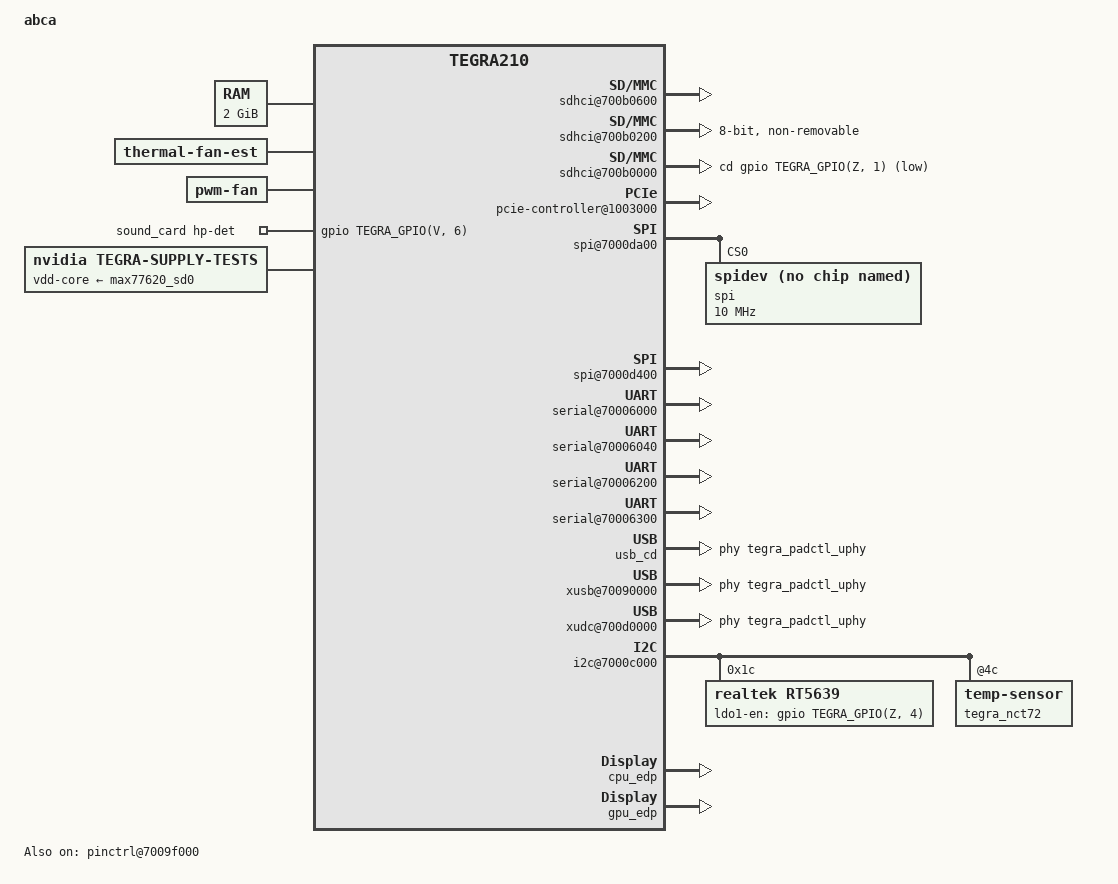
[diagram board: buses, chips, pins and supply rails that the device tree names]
/*
 * arch/arm64/boot/dts/tegra210-abca-common.dtsi
 *
 * Copyright (c) 2014-2017, NVIDIA CORPORATION.  All rights reserved.
 *
 * This program is free software; you can redistribute it and/or modify
 * it under the terms of the GNU General Public License as published by
 * the Free Software Foundation; version 2 of the License.
 *
 * This program is distributed in the hope that it will be useful, but WITHOUT
 * ANY WARRANTY; without even the implied warranty of MERCHANTABILITY or
 * FITNESS FOR A PARTICULAR PURPOSE.  See the GNU General Public License for
 * more details.
 *
 */

/dts-v1/;

/memreserve/ 0x80000000 0x00020000;

#include <tegra210b01-soc/tegra210b01-soc-common-platform.dtsi>
#include <tegra210-soc/tegra210-audio.dtsi>
#include "tegra210b01-abca-comms.dtsi"
#include <tegra210-soc/tegra210-trusty.dtsi>
#include <tegra210b01-cpufreq.dtsi>
#include "tegra210b01-abca-gpio-default-01-00.dtsi"
#include "tegra210b01-abca-pinmux-01-00.dtsi"
#include "tegra210b01-abca-padvoltage-default-01-00.dtsi"
#include "tegra210b01-thermal-fan-est-p2530-0930.dtsi"
#include "tegra210b01-abca-keys.dtsi"
#include <tegra210-soc/tegra210-edp.dtsi>
#include <t210-common-platforms/tegra210-thermal-nct72-p2530.dtsi>
#include <tegra210-soc/tegra210-thermal-Tboard-Tdiode.dtsi>
#include "tegra210b01-pwm-fan-p2530-0930.dtsi"
#include <dt-bindings/soc/tegra-pmc.h>
#include <dt-bindings/thermal/tegra210b01-trips.h>

/ {
	nvidia,dtbbuildtime = __DATE__, __TIME__;
	model = "abca";
	compatible = "nvidia,abca", "nvidia,tegra210b01";
	nvidia,dtsfilename = __FILE__;

	nvidia,boardids = "2595:0000:A0";
	nvidia,proc-boardid = "2595:0000:A0";
	nvidia,pmu-boardid = "2595:0000:A0";
	#address-cells = <2>;
	#size-cells = <2>;

	chosen {
		bootargs = "earlycon=uart8250,mmio32,0x70006000";
		stdout-path = &uarta;
	};

	firmware {
		android {
			compatible = "android,firmware";
			hardware = "abca";
		};
	};

	se_elp@70420000 {
		status = "okay";
	};

	rtc {
		nvidia,pmc-wakeup = <&tegra_pmc PMC_WAKE_TYPE_EVENT 16
			PMC_TRIGGER_TYPE_HIGH>;
	};

	pmc@7000e400 {
		nvidia,invert-interrupt;

		nvidia,suspend-mode = <0>;
		nvidia,cpu-pwr-good-time = <0>;
		nvidia,cpu-pwr-off-time = <0>;
		nvidia,core-pwr-good-time = <4587 3876>;
		nvidia,core-pwr-off-time = <39065>;
		nvidia,core-power-req-active-high;
		nvidia,sys-clock-req-active-high;
		#nvidia,wake-cells = <3>;
		nvidia,restrict-voltage-switch;

		pinctrl_iopad_default:iopad-defaults {
			sdmmc-io-pads {
				pins = "sdmmc1";
				nvidia,enable-voltage-switching;
			};
		};

		bootrom-commands {
			nvidia,command-retries-count = <2>;
			nvidia,delay-between-commands-us = <10>;
			nvidia,wait-before-start-bus-clear-us = <10>;
			#address-cells = <1>;
			#size-cells = <0>;
		};
	};

	memory@80000000 {
		device_type = "memory";
		reg = < 0x0 0x80000000 0x0 0x80000000 >;
	};

	sdhci@700b0600 { /* SDMMC4 for EMMC */
		uhs-mask = <0x0>;	/* hs400 */
		power-off-rail;
		status = "okay";
	};

	sdhci@700b0400 { /* SDMMC3 Not Used */
		status = "disabled";
	};

	sdhci@700b0200 { /* SDMMC2 for 2nd EMMC */
		uhs-mask = <0x0>;	/* hs400 */
		tap-delay = <0>;
		trim-delay = <8>;
		nvidia,is-ddr-tap-delay;
		nvidia,ddr-tap-delay = <0>;
		mmc-ocr-mask = <0>;
		dqs-trim-delay = <17>;
		dqs-trim-delay-hs533 = <24>;
		bus-width = <8>;
		built-in;
		calib-3v3-offsets = <0x0505>;
		calib-1v8-offsets = <0x0505>;
		compad-vref-3v3 = <0x7>;
		compad-vref-1v8 = <0x7>;
		nvidia,en-io-trim-volt;
		nvidia,is-emmc;
		nvidia,enable-cq;
		ignore-pm-notify;
		keep-power-in-suspend;
		non-removable;
		cap-mmc-highspeed;
		cap-sd-highspeed;
		mmc-ddr-1_8v;
		mmc-hs200-1_8v;
		mmc-hs400-1_8v;
		nvidia,enable-strobe-mode;
		pll_source = "pll_p", "pll_c4_out2";
		clocks = <&tegra_car TEGRA210_CLK_SDMMC2>,
		       <&tegra_car TEGRA210_CLK_PLL_P>,
		       <&tegra_car TEGRA210_CLK_PLL_C4_OUT2>;
		clock-names = "sdmmc", "pll_p", "pll_c4_out2";
		status = "okay";
	};

	sdhci@700b0000 { /* SDMMC1 for uSD card */
		nvidia,sd-device;
		uhs-mask = <0x8>;
		/delete-property/ cd-inverted;
		cd-gpios = <&gpio TEGRA_GPIO(Z, 1) GPIO_ACTIVE_LOW>;
		default-drv-type = <1>;
		power-off-rail;
		nvidia,update-pinctrl-settings;
		status = "okay";
	};

#if defined(LINUX_VERSION) && LINUX_VERSION >= 409
	aconnect@702c0000 {
#endif
	adma@702e2000  {
		dma-channels = <10>;
		status = "okay";
	};

	ahub {
		i2s@702d1000 {
			pinctrl-names = "dap_active", "dap_inactive";
			pinctrl-0 = <>;
			pinctrl-1 = <>;
			regulator-supplies = "vdd-1v8-audio-hv", "vdd-1v8-audio-hv-bias";
			vdd-1v8-audio-hv-supply = <&max77620_sd3>;
			vdd-1v8-audio-hv-bias-supply = <&max77620_sd3>;
		};

		i2s@702d1300 {
			pinctrl-names = "dap_active", "dap_inactive";
			pinctrl-0 = <>;
			pinctrl-1 = <>;
			regulator-supplies = "vddio-dmic";
			vddio-dmic-supply = <&max77620_sd3>;
		};

		i2s@702d1100 {
			pinctrl-names = "dap_active", "dap_inactive";
			pinctrl-0 = <>;
			pinctrl-1 = <>;
			regulator-supplies = "vdd-1v8-spi-hv", "vdd-1v8-spi-hv-bias";
			vdd-1v8-spi-hv-supply = <&max77620_sd3>;
			vdd-1v8-spi-hv-bias-supply = <&max77620_sd3>;
			fsync-width = <0>;
		};
	};
#if defined(LINUX_VERSION) && LINUX_VERSION >= 409
	};
#endif

	watchdog@60005100 {
		status = "okay";
		nvidia,enable-on-init;
		timeout-sec = <120>;
	};

	pcie-controller@1003000 {
		compatible = "nvidia,tegra210b01-pcie";
		nvidia,wake-gpio = <&gpio TEGRA_GPIO(A, 2) 0>;
		status = "okay";
		dvdd-pex-pll-supply = <&max77620_ldo1>;
		l0-dvddio-pex-supply = <&max77620_ldo1>;
		l1-dvddio-pex-supply = <&max77620_ldo1>;
		l2-dvddio-pex-supply = <&max77620_ldo1>;
		l3-dvddio-pex-supply = <&max77620_ldo1>;
		l4-dvddio-pex-supply = <&max77620_ldo1>;
		l5-dvddio-pex-supply = <&max77620_ldo1>;
		l6-dvddio-pex-supply = <&max77620_ldo1>;
		hvdd-pex-pll-e-supply = <&max77620_sd3>;
		l0-hvddio-pex-supply = <&max77620_sd3>;
		l1-hvddio-pex-supply = <&max77620_sd3>;
		l2-hvddio-pex-supply = <&max77620_sd3>;
		l3-hvddio-pex-supply = <&max77620_sd3>;
		l4-hvddio-pex-supply = <&max77620_sd3>;
		l5-hvddio-pex-supply = <&max77620_sd3>;
		l6-hvddio-pex-supply = <&max77620_sd3>;
		vddio-pex-ctl-supply = <&max77620_sd3>;

		pci@1,0 {
			nvidia,num-lanes = <4>;
			status = "okay";
		};

		pci@2,0 {
			nvidia,num-lanes = <1>;
			status = "okay";
		};
	};

	spi@7000da00 {
		status = "okay";
		spi@0 {
			compatible = "spidev";
			status = "okay";
			reg = <0>;
			spi-cpol;
			spi-cpha;
			spi-max-frequency = <10000000>;
		};
	};

	spi@7000d400 {
		status = "okay";
	};

	serial@70006000 {
		compatible = "nvidia,tegra210-uart", "nvidia,tegra114-hsuart";
		console-port;
		sqa-automation-port;
		enable-rx-poll-timer;
		/delete-property/ resets;
		/delete-property/ reset-names;
		status = "okay";
	};

	serial@70006040 {
		status = "okay";
	};

	serial@70006200 {
		status = "okay";
	};

	serial@70006300 {
		status = "okay";
	};

	mailbox@70098000 {
		status = "okay";
	};

	usb_cd {
		status = "okay";
		#extcon-cells = <1>;
		phys = <&tegra_padctl_uphy TEGRA_PADCTL_UPHY_UTMI_P(0)>;
		phy-names = "otg-phy";
	};

	pinctrl@7009f000 {
		compatible = "nvidia,tegra21xb01-padctl-uphy";
		status = "okay";
		pinctrl-0 = <&tegra_padctl_uphy_pinmux_default>;
		pinctrl-names = "default";
		tegra_padctl_uphy_pinmux_default: pinmux {
			usb2-micro-AB-xusb {
				nvidia,lanes = "otg-0";
				nvidia,function = "xusb";
				nvidia,port-cap =
					<TEGRA_PADCTL_PORT_OTG_CAP>;
			};
			usb3-for-dev-mode {
				nvidia,lanes = "uphy-lane-5";
				nvidia,function = "usb3";
				nvidia,usb3-port = <0>;
				nvidia,usb2-map = <0>;
				nvidia,port-cap =
					<TEGRA_PADCTL_PORT_OTG_CAP>;
			};
			usb2-micro-AB-snps {
				nvidia,lanes = "otg-0";
				nvidia,function = "snps";
				status = "disabled";
			};
			pcie-0 {
				 nvidia,lanes =	"uphy-lane-1", "uphy-lane-2",
						"uphy-lane-3", "uphy-lane-4";
				 nvidia,function = "pcie";
				 nvidia,pcie-controller = <0>;
				 nvidia,pcie-lane-select =
					<TEGRA_PADCTL_PCIE_LANE_X4>;
			};
			pcie-1 {
				 nvidia,lanes =	"uphy-lane-0";
				 nvidia,function = "pcie";
				 nvidia,pcie-controller = <1>;
				 nvidia,pcie-lane-select =
					<TEGRA_PADCTL_PCIE_LANE_X1>;
			};
		};
	};

	xusb@70090000 {
		compatible = "nvidia,tegra210b01-xhci";
		status = "okay";
		#extcon-cells = <1>;
		phys =	<&tegra_padctl_uphy TEGRA_PADCTL_UPHY_UTMI_P(0)>,
			<&tegra_padctl_uphy TEGRA_PADCTL_UPHY_USB3_P(0)>;
		phy-names = "utmi-0", "usb3-0";
		nvidia,pmc-wakeup =
			<&tegra_pmc
				PMC_WAKE_TYPE_EVENT 41 PMC_TRIGGER_TYPE_HIGH>,
			<&tegra_pmc
				PMC_WAKE_TYPE_EVENT 44 PMC_TRIGGER_TYPE_HIGH>;
	};

	xudc@700d0000 {
		compatible = "nvidia,tegra210b01-xudc";
		nvidia,portmap = <0x0108>;
		#extcon-cells = <1>;
		status = "okay";
		phys =  <&tegra_padctl_uphy TEGRA_PADCTL_UPHY_UTMI_P(0)>,
			<&tegra_padctl_uphy TEGRA_PADCTL_UPHY_USB3_P(0)>;
		phy-names = "usb2", "usb3";
	};

	xotg {
		#extcon-cells = <1>;
		status = "disabled";
	};

	thermal-fan-est {
		status = "okay";
		compatible = "thermal-fan-est";
		active_trip_temps = <0 63000 74000 85000 120000
				140000 150000 160000 170000 180000>;
		active_hysteresis = <0 15000 11000 6000 4000
				0 0 0 0 0>;
	};

	pwm_fan_shared_data: pfsd {
		state_cap_lookup = <2 2 2 7 7 7 7 7 9 9>;
		pwm_period = <40000>;
		pwm_id = <1>;
		tach_gpio =  <&gpio TEGRA_GPIO(S, 7) GPIO_ACTIVE_LOW>; /* TEGRA_GPIO_PS7 */
		pwm_gpio = <&gpio TEGRA_GPIO(V, 4) GPIO_ACTIVE_LOW>; /* TEGRA_GPIO_PV4 */
	};

	pwm-fan {
		status = "okay";
		compatible = "pwm-fan";
		shared_data = <&pwm_fan_shared_data>;
		active_pwm = <0 70 115 135 135 240 245 250 252 255>;
	};

	i2c@7000c000 {
		rt5639: rt5639.0-001c@1c {
			compatible = "realtek,rt5639";
			realtek,ldo1-en-gpios = <&gpio TEGRA_GPIO(Z, 4) GPIO_ACTIVE_HIGH>;
			reg = <0x1c>;
			sel_jd_source = <2>;
		};
	};

	sound_card: sound {
		compatible = "nvidia,tegra-audio-t210ref-mobile-rt5639";
		nvidia,model = "tegra-snd-t210ref-mobile-rt5639";
		nvidia,hp-det-gpios = <&gpio TEGRA_GPIO(V, 6) GPIO_ACTIVE_HIGH>;

		clocks = <&tegra_car TEGRA210_CLK_PLL_P_OUT1>,
			<&tegra_car TEGRA210_CLK_PLL_A>,
			<&tegra_car TEGRA210_CLK_PLL_A_OUT0>,
			<&tegra_car TEGRA210_CLK_D_AUDIO>,
			<&tegra_car TEGRA210_CLK_CLK_M>,
			<&tegra_car TEGRA210_CLK_EXTERN1>;
		clock-names = "pll_p_out1", "pll_a", "pll_a_out0", "ahub",
			"clk_m", "extern1";


		assigned-clocks = <&tegra_car TEGRA210_CLK_PLL_A>,
			<&tegra_car TEGRA210_CLK_PLL_A_OUT0>,
			<&tegra_car TEGRA210_CLK_D_AUDIO>,
			<&tegra_car TEGRA210_CLK_EXTERN1>;
		assigned-clock-rates = <368640000>, <36864000>,
			<36864000>, <12288000>;

		nvidia,num-codec-link = <4>;

		nvidia,audio-routing =
			"x Headphone Jack", 	"x HPOL",
			"x Headphone Jack", 	"x HPOR",
			"x Int Spk", 	"x SPORP",
			"x Int Spk", 	"x SPORN",
			"x Int Spk", 	"x SPOLP",
			"x Int Spk", 	"x SPOLN",
			"x micbias1",	"x Mic Jack",
			"x IN1P",		"x Mic Jack",
			"x IN1P",		"x Mic Jack",
			"x DMIC L1",	"x Int Mic",
			"x DMIC L2",	"x Int Mic",
			"x DMIC R1",	"x Int Mic",
			"x DMIC R2",	"x Int Mic",
			"y Headphone", 	"y OUT",
			"y IN",		"y Mic",
			"z Headphone", 	"z OUT",
			"z IN",		"z Mic",
			"l IN",		"l OUT";

		nvidia,xbar = <&tegra_axbar>;

		nvidia,dai-link-1 {
			link-name = "rt5640-playback";
			cpu-dai = <&tegra_i2s1>;
			codec-dai = <&rt5639>;
			cpu-dai-name = "I2S1";
			codec-dai-name = "rt5640-aif1";
			format = "i2s";
			bitclock-slave;
			frame-slave;
			bitclock-noninversion;
			frame-noninversion;
			bit-format = "s16_le";
			bclk_ratio = <0>;
			srate = <48000>;
			num-channel = <2>;
			name-prefix = "x";
		};
		nvidia,dai-link-2 {
			link-name = "spdif-dit-1";
			cpu-dai = <&tegra_i2s2>;
			codec-dai = <&spdif_dit1>;
			cpu-dai-name = "I2S2";
			codec-dai-name = "dit-hifi";
			format = "dsp_a";
			bitclock-slave;
			frame-slave;
			bitclock-inversion;
			frame-inversion;
			bit-format = "s16_le";
			bclk_ratio = <4>;
			srate = <8000>;
			num-channel = <1>;
			name-prefix = "y";
		};
		nvidia,dai-link-3 {
			link-name = "spdif-dit-2";
			cpu-dai = <&tegra_dmic2>;
			codec-dai = <&spdif_dit2>;
			cpu-dai-name = "DMIC2";
			codec-dai-name = "dit-hifi";
			format = "i2s";
			bit-format = "s16_le";
			srate = <48000>;
			num-channel = <2>;
			name-prefix = "z";
		};
		nvidia,dai-link-4 {
			link-name = "spdif-dit-3";
			cpu-dai = <&tegra_i2s3>;
			codec-dai = <&spdif_dit3>;
			cpu-dai-name = "I2S3";
			codec-dai-name = "dit-hifi";
			format = "i2s";
			bitclock-slave;
			frame-slave;
			bitclock-noninversion;
			frame-noninversion;
			bit-format = "s16_le";
			bclk_ratio = <0>;
			srate = <48000>;
			num-channel = <2>;
			name-prefix = "l";
		};
	};

#if defined(LINUX_VERSION) && LINUX_VERSION >= 409
	aconnect@702c0000 {
#endif
	adsp_audio {
		compr-ops = <1>;
		num-plugin = <5>;
		plugin-info-1 {
			plugin-name = "mp3-dec1";
			firmware-name = "nvmp3dec.elf";
			widget-name = "MP3-DEC1";
		};
		plugin-info-2 {
			plugin-name = "spkprot";
			firmware-name = "nvspkprot.elf";
			widget-name = "SPKPROT-SW";
		};
		plugin-info-3 {
			plugin-name = "src";
			firmware-name = "nvsrc.elf";
			widget-name = "SRC";
		};
		plugin-info-4 {
			plugin-name = "aac-dec1";
			firmware-name = "nvaacdec.elf";
			widget-name = "AAC-DEC1";
		};
		plugin-info-5 {
			plugin-name = "aec";
			firmware-name = "libnvaecfx.elf";
			widget-name = "AEC";
			param-type = <2>; /* SNDRV_CTL_ELEM_TYPE_INTEGER */
		};
	};
#if defined(LINUX_VERSION) && LINUX_VERSION >= 409
	};
#endif
	bcmdhd_wlan {
		edp-consumer-name = "primary-wifi";
	};

	cpu_edp {
		status = "okay";
		nvidia,edp_limit = <25000>;
	};

	gpu_edp {
		status = "okay";
		nvidia,edp_limit = <25000>;
	};

	modem {
		/* using XHCI UTMI */
		nvidia,phy-type = <2>;
	};

	wifi-antenna-tuning {
		status = "disabled";
	};

	pinmux@700008d4 {
		dsi_ab_pad_default: dsi_ab_pad_default {
			dsi_ab_pad_enable {
				nvidia,pins = "pad_dsi_ab";
				nvidia,pad-power = <TEGRA_PIN_ENABLE>;
			};
		};
		dsi_cd_pad_default: dsi_cd_pad_default {
			dsi_cd_pad_enable {
				nvidia,pins = "pad_dsi_cd";
				nvidia,pad-power = <TEGRA_PIN_ENABLE>;
			};
		};
		dsi_ab_pad_idle: dsi_ab_pad_idle {
			dsi_ab_pad_disable {
				nvidia,pins = "pad_dsi_ab";
				nvidia,pad-power = <TEGRA_PIN_DISABLE>;
			};
		};
		dsi_cd_pad_idle: dsi_cd_pad_idle {
			dsi_cd_pad_disable {
				nvidia,pins = "pad_dsi_cd";
				nvidia,pad-power = <TEGRA_PIN_DISABLE>;
			};
		};
	};

	host1x {
		dc@54200000 {
			pinctrl-names = "pad_ab_default", "pad_ab_idle",
				"pad_cd_default", "pad_cd_idle";
			pinctrl-0 = <&dsi_ab_pad_default>;
			pinctrl-1 = <&dsi_ab_pad_idle>;
			pinctrl-2 = <&dsi_cd_pad_default>;
			pinctrl-3 = <&dsi_cd_pad_idle>;
		};
	};

	clock@70110000 {
		status = "okay";
		vdd-cpu-supply = <&m4_max_reg>;
		nvidia,align-step-uv = <5000>;
		nvidia,sample-rate = <12500>;
		nvidia,droop-ctrl = <0x00000f00>;
		nvidia,force-mode = <1>;
		nvidia,cf = <6>;
		nvidia,ci = <0>;
		nvidia,cg = <2>;
		nvidia,i2c-fs-rate = <400000>;
		nvidia,dfll-max-freq-khz = <1683000>;
	};

	cpus {
		cpu@0 {
			clocks = <&tegra_car TEGRA210_CLK_CCLK_G>,
				 <&tegra_car TEGRA210_CLK_CCLK_LP>,
				 <&tegra_car TEGRA210_CLK_PLL_X>,
				 <&tegra_car TEGRA210_CLK_PLL_P_OUT4>,
				 <&tegra_clk_dfll>;
			clock-names = "cpu_g", "cpu_lp", "pll_x", "pll_p", "dfll";
			clock-latency = <300000>;
		};
	};

	memory-controller@70019000 {
		status = "okay";
	};

	dvfs {
		compatible = "nvidia,tegra210b01-dvfs", "nvidia,tegra210-dvfs";
		nvidia,gpu-max-freq-khz = <844800>;
	};

	tegra-supply-tests {
		compatible = "nvidia,tegra-supply-tests";
		vdd-core-supply=<&max77620_sd0>;
	};

	gpu-dvfs-rework {
		status = "okay";
	};

	host1x {
		assigned-clocks = <&tegra_car TEGRA210_CLK_EXTERN3>,
				<&tegra_car TEGRA210_CLK_CILE>,
				<&tegra_car TEGRA210_CLK_CILCD>,
				<&tegra_car TEGRA210_CLK_CILAB>,
				<&tegra_car TEGRA210_CLK_VI_I2C>,
				<&tegra_car TEGRA210_CLK_CLK_OUT_3_MUX>,
				<&tegra_car TEGRA210_CLK_VI>;
		assigned-clock-parents = <&tegra_car TEGRA210_CLK_PLL_P>,
					<&tegra_car TEGRA210_CLK_PLL_P>,
					<&tegra_car TEGRA210_CLK_PLL_P>,
					<&tegra_car TEGRA210_CLK_PLL_P>,
					<&tegra_car TEGRA210_CLK_PLL_P>,
					<&tegra_car TEGRA210_CLK_EXTERN3>,
					<&tegra_car TEGRA210_CLK_PLL_C>;
		assigned-clock-rates = <24000000>,
					<102000000>,
					<102000000>,
					<102000000>,
					<102000000>,
					<24000000>,
					<408000000>;
	};

	core_dvfs_cdev_cap {
		clocks = <&tegra_car TEGRA210_CLK_CAP_VCORE_C2BUS>,
			 <&tegra_car TEGRA210_CLK_CAP_VCORE_C3BUS>,
			 <&tegra_car TEGRA210_CLK_CAP_VCORE_CBUS>,
			 <&tegra_car TEGRA210_CLK_CAP_VCORE_APE>;
		clock-names = "c2bus_cap", "c3bus_cap", "cbus_cap", "ape_cap";
	};

	dfll_cap: dfll-cdev-cap {
		compatible = "nvidia,tegra-dfll-cdev-action";
		act-dev = <&tegra_clk_dfll>;
		cdev-type = "DFLL-cap";
		#cooling-cells = <2>; /* min followed by max */
	};

	dfll_floor: dfll-cdev-floor {
		compatible = "nvidia,tegra-dfll-cdev-action";
		act-dev = <&tegra_clk_dfll>;
		cdev-type = "DFLL-floor";
		#cooling-cells = <2>; /* min followed by max */
	};

	gpu_scaling_cdev: gpu-scaling-cdev {
		cooling-min-state = <0>;
		cooling-max-state = <5>;
		#cooling-cells = <2>;
		compatible = "nvidia,tegra210-rail-scaling-cdev";
		cdev-type = "gpu_scaling";
		nvidia,constraint;
		nvidia,trips = <&gpu_scaling_trip0 800 &gpu_scaling_trip1 0
				&gpu_scaling_trip2 0 &gpu_scaling_trip3 0
				&gpu_scaling_trip4 0 &gpu_scaling_trip5 0>;
	};

	gpu_vmax_cdev: gpu-vmax-cdev {
		cooling-min-state = <0>;
		cooling-max-state = <1>;
		#cooling-cells = <2>;
		compatible = "nvidia,tegra210-rail-vmax-cdev";
		cdev-type = "GPU-cap";
		nvidia,constraint-ucm2;
		nvidia,trips = <&gpu_vmax_trip1 1010 1010>;
		clocks = <&tegra_car TEGRA210_CLK_CAP_VGPU_GBUS>;
		clock-names = "cap-clk";
	};

	thermal-zones {
		Tboard_tegra {
			status = "okay";
		};
		Tdiode_tegra {
			status = "okay";
			polling-delay-passive = <500>;
			trips {
				gpu_shutdown {
					temperature = <92500>;
					hysteresis = <0>;
					type = "critical";
					writable;
				};

				gpu_throttle {
					temperature = <86000>;
					hysteresis = <0>;
					type = "passive";
					writable;
				};
				gpu_scaling_trip0: gpu-scaling-trip0 {
					temperature = <(TEGRA210B01_GPU_DVFS_THERMAL_MIN)>;
					hysteresis = <0>; /* millicelsius */
					type = "active";
				};
				gpu_scaling_trip1: gpu-scaling-trip1 {
					temperature = <TEGRA210B01_GPU_DVFS_THERMAL_TRIP_1>;
					hysteresis = <1000>; /* millicelsius */
					type = "active";
				};
				gpu_scaling_trip2: gpu-scaling-trip2 {
					temperature = <TEGRA210B01_GPU_DVFS_THERMAL_TRIP_2>;
					hysteresis = <1000>; /* millicelsius */
					type = "active";
				};
				gpu_scaling_trip3: gpu-scaling-trip3 {
					temperature = <TEGRA210B01_GPU_DVFS_THERMAL_TRIP_3>;
					hysteresis = <1000>; /* millicelsius */
					type = "active";
				};
				gpu_scaling_trip4: gpu-scaling-trip4 {
					temperature = <TEGRA210B01_GPU_DVFS_THERMAL_TRIP_4>;
					hysteresis = <1000>; /* millicelsius */
					type = "active";
				};
				gpu_scaling_trip5: gpu-scaling-trip5 {
					temperature = <TEGRA210B01_GPU_DVFS_THERMAL_TRIP_5>;
					hysteresis = <1000>; /* millicelsius */
					type = "active";
				};

				gpu_vmax_trip1: gpu-vmax-trip1 {
					temperature = <TEGRA210B01_GPU_DVFS_THERMAL_CAP_1>;
					hysteresis = <1000>; /* millicelsius */
					type = "active";
				};

				core_dvfs_floor_trip0: core_dvfs_floor_trip0 {
					temperature = <TEGRA210B01_SOC_THERMAL_FLOOR_0>;
					hysteresis = <1000>;
					type = "active";
				};

				core_dvfs_cap_trip0: core_dvfs_cap_trip0 {
					temperature = <TEGRA210B01_SOC_THERMAL_CAP_0>;
					hysteresis = <1000>;
					type = "active";
				};

				dfll_floor_trip0: dfll-floor-trip0 {
					temperature = <TEGRA210B01_DFLL_THERMAL_FLOOR_0>;
					hysteresis = <1000>; /* millicelsius */
					type = "active";
				};
			};

			cooling-maps {
				gpu-scaling-map1 {
					trip = <&gpu_scaling_trip1>;
					cooling-device = <&gpu_scaling_cdev 1 1>;
				};
				gpu-scaling-map2 {
					trip = <&gpu_scaling_trip2>;
					cooling-device = <&gpu_scaling_cdev 2 2>;
				};
				gpu_scaling_map3 {
					trip = <&gpu_scaling_trip3>;
					cooling-device = <&gpu_scaling_cdev 3 3>;
				};
				gpu-scaling-map4 {
					trip = <&gpu_scaling_trip4>;
					cooling-device = <&gpu_scaling_cdev 4 4>;
				};
				gpu-scaling-map5 {
					trip = <&gpu_scaling_trip5>;
					cooling-device = <&gpu_scaling_cdev 5 5>;
				};

				gpu-vmax-map1 {
					trip = <&gpu_vmax_trip1>;
					cooling-device = <&gpu_vmax_cdev 1 1>;
				};

				core_dvfs_floor_map0 {
					trip = <&core_dvfs_floor_trip0>;
					cooling-device = <&core_dvfs_floor 1 1>;
				};
				core_dvfs_cap_map0 {
					trip = <&core_dvfs_cap_trip0>;
					cooling-device = <&core_dvfs_cap 1 1>;
				};

				dfll-floor-map0 {
					trip = <&dfll_floor_trip0>;
					cooling-device = <&dfll_floor 1 1>;
				};
				map0 {
					trip = <&{/thermal-zones/Tdiode_tegra/trips/gpu_throttle}>;
					cdev-type = "gpu-balanced";
					cooling-device = <&{/bthrot_cdev/gpu_balanced}
						THERMAL_NO_LIMIT THERMAL_NO_LIMIT>;
				};

			};
		};
		AO-therm {
			status = "okay";
		};
		PLL-therm {
			status = "okay";
			polling-delay-passive = <500>;
			thermal-zone-params {
				governor-name = "step_wise";
			};
			trips {
				cpu_heavy {
					temperature = <94500>;
					hysteresis = <0>;
					type = "hot";
					writable;
				};
				cpu_throttle {
					temperature = <90500>;
					hysteresis = <0>;
					type = "passive";
					writable;
				};
				cpu_critical {
					temperature = <96000>;
					hysteresis = <0>;
					type = "critical";
					writable;
				};
				dfll_cap_trip0: dfll-cap-trip0 {
					temperature = <TEGRA210B01_DFLL_THERMAL_CAP_0>;
					hysteresis = <1000>; /* millicelsius */
					type = "active";
				};
				dfll_cap_trip1: dfll-cap-trip1 {
					temperature = <TEGRA210B01_DFLL_THERMAL_CAP_1>;
					hysteresis = <1000>; /* millicelsius */
					type = "active";
				};
			};
			cooling-maps {
				map0 {
					trip = <&{/thermal-zones/PLL-therm/trips/cpu_heavy}>;
					cdev-type = "tegra-heavy";
					cooling-device = <&throttle_heavy 1 1>;
				};
				map1 {
					trip = <&{/thermal-zones/PLL-therm/trips/cpu_throttle}>;
					cdev-type = "cpu-balanced";
					cooling-device = <&{/bthrot_cdev/cpu_balanced}
						THERMAL_NO_LIMIT THERMAL_NO_LIMIT>;
				};
				dfll-cap-map0 {
					trip = <&dfll_cap_trip0>;
					cooling-device = <&dfll_cap 1 1>;
				};
				dfll-cap-map1 {
					trip = <&dfll_cap_trip1>;
					cooling-device = <&dfll_cap 2 2>;
				};
			};
		};
	};

	platform-commands {
		compatible ="platform-init";
		status = "disabled";
		bootloader-status = "okay";
		block@1 {
			type = "i2c";
			controller = <&i2c5>;
			device-address = <0x3c>;
			command-delay = <0x0>;
			block-delay = <0x0>;
			commands = <0x1D 0x04 0x04>,
				<0x1E 0x04 0x04>,
				<0x1F 0x04 0x04>,
				<0x20 0x04 0x04>,
				<0x22 0xFF 0x40>;
		};
	};

	i2c@7000c000 {
		tegra_nct72: temp-sensor@4c {
			offset = <(-44)>;
			ext {
				shutdown-limit = <93>;
			};
		};
	};

	spi@7000da00 {
		/delete-node/ spi-touch19x12@0;
		/delete-node/ spi-touch25x16@0;
		/delete-node/ spi-touch14x8@0;
	};
};
